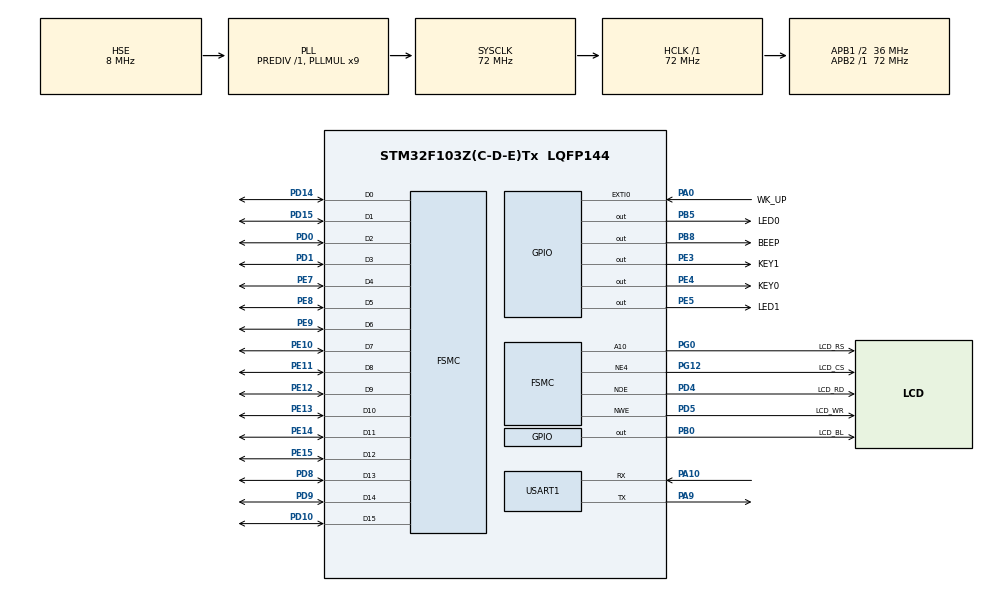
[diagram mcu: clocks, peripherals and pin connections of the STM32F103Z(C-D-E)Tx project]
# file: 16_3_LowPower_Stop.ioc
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FSMC.AddressSetupTime1=0
FSMC.BusTurnAroundDuration1=15
FSMC.DataSetupTime1=15
FSMC.ExtendedAddressSetupTime1=0
FSMC.ExtendedDataSetupTime1=1
FSMC.ExtendedMode1=FSMC_EXTENDED_MODE_ENABLE
Mcu.Family=STM32F1
Mcu.Name=STM32F103Z(C-D-E)Tx
Mcu.Package=LQFP144
NVIC.EXTI0_IRQn=true\:2\:2\:true\:false\:true\:true\:true\:true
NVIC.PriorityGroup=NVIC_PRIORITYGROUP_2
NVIC.USART1_IRQn=true\:2\:2\:true\:false\:true\:true\:true\:true
OSC_IN.Mode=HSE-External-Oscillator
OSC_IN.Signal=RCC_OSC_IN
OSC_OUT.Mode=HSE-External-Oscillator
OSC_OUT.Signal=RCC_OSC_OUT
PA0-WKUP.GPIO_Label=WK_UP
PA0-WKUP.GPIO_PuPd=GPIO_PULLDOWN
PA0-WKUP.Signal=GPXTI0
PA10.Mode=Asynchronous
PA10.Signal=USART1_RX
PA13.Mode=Serial_Wire
PA13.Signal=SYS_JTMS-SWDIO
PA14.Mode=Serial_Wire
PA14.Signal=SYS_JTCK-SWCLK
PA9.Mode=Asynchronous
PA9.Signal=USART1_TX
PB0.GPIO_Label=LCD_BL
PB0.GPIO_PuPd=GPIO_PULLUP
PB0.GPIO_Speed=GPIO_SPEED_FREQ_HIGH
PB0.PinState=GPIO_PIN_SET
PB0.Signal=GPIO_Output
PB5.GPIO_Label=LED0
PB5.GPIO_PuPd=GPIO_PULLUP
PB5.GPIO_Speed=GPIO_SPEED_FREQ_HIGH
PB5.PinState=GPIO_PIN_SET
PB5.Signal=GPIO_Output
PB8.GPIO_Label=BEEP
PB8.GPIO_ModeDefaultOutputPP=GPIO_MODE_OUTPUT_PP
PB8.GPIO_PuPd=GPIO_PULLDOWN
PB8.GPIO_Speed=GPIO_SPEED_FREQ_HIGH
PB8.PinState=GPIO_PIN_RESET
PB8.Signal=GPIO_Output
PC14-OSC32_IN.Mode=LSE-External-Oscillator
PC14-OSC32_IN.Signal=RCC_OSC32_IN
PC15-OSC32_OUT.Mode=LSE-External-Oscillator
PC15-OSC32_OUT.Signal=RCC_OSC32_OUT
PD0.Signal=FSMC_D2_DA2
PD1.Signal=FSMC_D3_DA3
PD10.Signal=FSMC_D15_DA15
PD14.Signal=FSMC_D0_DA0
PD15.Signal=FSMC_D1_DA1
PD4.GPIO_Label=LCD_RD
PD4.Signal=FSMC_NOE
PD5.GPIO_Label=LCD_WR
PD5.Signal=FSMC_NWE
PD8.Signal=FSMC_D13_DA13
PD9.Signal=FSMC_D14_DA14
PE10.Signal=FSMC_D7_DA7
PE11.Signal=FSMC_D8_DA8
PE12.Signal=FSMC_D9_DA9
PE13.Signal=FSMC_D10_DA10
PE14.Signal=FSMC_D11_DA11
PE15.Signal=FSMC_D12_DA12
PE3.GPIO_Label=KEY1
PE3.GPIO_PuPd=GPIO_PULLUP
PE3.GPIO_Speed=GPIO_SPEED_FREQ_HIGH
PE3.PinState=GPIO_PIN_SET
PE3.Signal=GPIO_Output
PE4.GPIO_Label=KEY0
PE4.GPIO_PuPd=GPIO_PULLUP
PE4.GPIO_Speed=GPIO_SPEED_FREQ_HIGH
PE4.PinState=GPIO_PIN_SET
PE4.Signal=GPIO_Output
PE5.GPIO_Label=LED1
PE5.GPIO_PuPd=GPIO_PULLUP
PE5.GPIO_Speed=GPIO_SPEED_FREQ_HIGH
PE5.PinState=GPIO_PIN_SET
PE5.Signal=GPIO_Output
PE7.Signal=FSMC_D4_DA4
PE8.Signal=FSMC_D5_DA5
PE9.Signal=FSMC_D6_DA6
PG0.GPIO_Label=LCD_RS
PG0.Signal=FSMC_A10
PG12.GPIO_Label=LCD_CS
PG12.Mode=NorPsramChipSelect4_1
PG12.Signal=FSMC_NE4
ProjectManager.HeapSize=0x200
ProjectManager.StackSize=0x400
ProjectManager.TargetToolchain=STM32CubeIDE
RCC.AHBFreq_Value=72000000
RCC.APB1CLKDivider=RCC_HCLK_DIV2
RCC.APB1Freq_Value=36000000
RCC.APB1TimFreq_Value=72000000
RCC.APB2Freq_Value=72000000
RCC.APB2TimFreq_Value=72000000
RCC.HCLKFreq_Value=72000000
RCC.PLLMUL=RCC_PLL_MUL9
RCC.PLLSourceVirtual=RCC_PLLSOURCE_HSE
RCC.SYSCLKFreq_VALUE=72000000
RCC.SYSCLKSource=RCC_SYSCLKSOURCE_PLLCLK
RCC.USBFreq_Value=72000000
SH.FSMC_A10.0=FSMC_A10,A10_1
SH.FSMC_D0_DA0.0=FSMC_D0,16b-d1
SH.FSMC_D10_DA10.0=FSMC_D10,16b-d1
SH.FSMC_D11_DA11.0=FSMC_D11,16b-d1
SH.FSMC_D12_DA12.0=FSMC_D12,16b-d1
SH.FSMC_D13_DA13.0=FSMC_D13,16b-d1
SH.FSMC_D14_DA14.0=FSMC_D14,16b-d1
SH.FSMC_D15_DA15.0=FSMC_D15,16b-d1
SH.FSMC_D1_DA1.0=FSMC_D1,16b-d1
SH.FSMC_D2_DA2.0=FSMC_D2,16b-d1
SH.FSMC_D3_DA3.0=FSMC_D3,16b-d1
SH.FSMC_D4_DA4.0=FSMC_D4,16b-d1
SH.FSMC_D5_DA5.0=FSMC_D5,16b-d1
SH.FSMC_D6_DA6.0=FSMC_D6,16b-d1
SH.FSMC_D7_DA7.0=FSMC_D7,16b-d1
SH.FSMC_D8_DA8.0=FSMC_D8,16b-d1
SH.FSMC_D9_DA9.0=FSMC_D9,16b-d1
SH.FSMC_NOE.0=FSMC_NOE,Lcd1
SH.FSMC_NWE.0=FSMC_NWE,Lcd1
USART1.VirtualMode=VM_ASYNC
board=custom

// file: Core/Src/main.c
/* USER CODE BEGIN Header */

/* USER CODE END Header */
#include "main.h"
#include "usart.h"
#include "gpio.h"
#include "fsmc.h"

/* USER CODE BEGIN Includes */
#include "../../BSP/LED/led.h"
#include "../../BSP/BEEP/beep.h"
#include "../../BSP/KEY/key.h"
#include "../../BSP/LCD/lcd.h"
#include "../../BSP/PWR/pwr.h"
#include "../../SYSTEM/delay/delay.h"
#include "../../SYSTEM/sys/sys.h"
/* USER CODE END Includes */

void SystemClock_Config(void);

int main(void)
{
  /* USER CODE BEGIN 1 */
    uint8_t t = 0;
    uint8_t key = 0;
  /* USER CODE END 1 */

  /* MCU Configuration--------------------------------------------------------*/

  /* Reset of all peripherals, Initializes the Flash interface and the Systick. */
  HAL_Init();

  /* Configure the system clock */
  SystemClock_Config();

  /* USER CODE BEGIN SysInit */
  delay_init(72);						   /* 初始化延时函数 */
  /* USER CODE END SysInit */

  /* Initialize all configured peripherals */
  MX_GPIO_Init();
  MX_FSMC_Init();
  MX_USART1_UART_Init();
  /* USER CODE BEGIN 2 */
  lcd_init();                         /* 初始化LCD */

  lcd_show_string(30,  50, 200, 16, 16, "STM32", RED);
  lcd_show_string(30,  70, 200, 16, 16, "STOP TEST", RED);
  lcd_show_string(30,  90, 200, 16, 16, "ATOM@ALIENTEK", RED);
  lcd_show_string(30, 110, 200, 16, 16, "KEY0:Enter STOP MODE", RED);
  lcd_show_string(30, 130, 200, 16, 16, "KEY_UP:Exit STOP MODE", RED);
  /* USER CODE END 2 */

  /* Infinite loop */
  /* USER CODE BEGIN WHILE */
  while (1)
  {
      key = key_scan(0);

      if (key == KEY0_PRES)
      {
          LED1(0);                            /* 点亮绿灯,提示进入停止模式 */
          pwr_enter_stop();                   /* 进入停止模式 */

          /* 从停止模式唤醒, 需要重新设置系统时钟, 72Mhz */
          SystemClock_Config();
          HAL_ResumeTick();                   /* 恢复滴答时钟 */
          LED1(1);                            /* 关闭绿灯,提示退出停止模式 */
      }

      if ((t % 20) == 0)
      {
          LED0_TOGGLE();                      /* 每200ms,翻转一次LED0 */
      }

      delay_ms(10);
      t++;

    /* USER CODE END WHILE */

  }
}

void SystemClock_Config(void)
{
  RCC_OscInitTypeDef RCC_OscInitStruct = {0};
  RCC_ClkInitTypeDef RCC_ClkInitStruct = {0};

  /** Initializes the RCC Oscillators according to the specified parameters
  * in the RCC_OscInitTypeDef structure.
  */
  RCC_OscInitStruct.OscillatorType = RCC_OSCILLATORTYPE_HSE;
  RCC_OscInitStruct.HSEState = RCC_HSE_ON;
  RCC_OscInitStruct.HSEPredivValue = RCC_HSE_PREDIV_DIV1;
  RCC_OscInitStruct.HSIState = RCC_HSI_ON;
  RCC_OscInitStruct.PLL.PLLState = RCC_PLL_ON;
  RCC_OscInitStruct.PLL.PLLSource = RCC_PLLSOURCE_HSE;
  RCC_OscInitStruct.PLL.PLLMUL = RCC_PLL_MUL9;
  if (HAL_RCC_OscConfig(&RCC_OscInitStruct) != HAL_OK)
  {
    Error_Handler();
  }

  /** Initializes the CPU, AHB and APB buses clocks
  */
  RCC_ClkInitStruct.ClockType = RCC_CLOCKTYPE_HCLK|RCC_CLOCKTYPE_SYSCLK
                              |RCC_CLOCKTYPE_PCLK1|RCC_CLOCKTYPE_PCLK2;
  RCC_ClkInitStruct.SYSCLKSource = RCC_SYSCLKSOURCE_PLLCLK;
  RCC_ClkInitStruct.AHBCLKDivider = RCC_SYSCLK_DIV1;
  RCC_ClkInitStruct.APB1CLKDivider = RCC_HCLK_DIV2;
  RCC_ClkInitStruct.APB2CLKDivider = RCC_HCLK_DIV1;

  if (HAL_RCC_ClockConfig(&RCC_ClkInitStruct, FLASH_LATENCY_2) != HAL_OK)
  {
    Error_Handler();
  }
}

void Error_Handler(void)
{
  __disable_irq();
  while (1)
  {
  }
}
